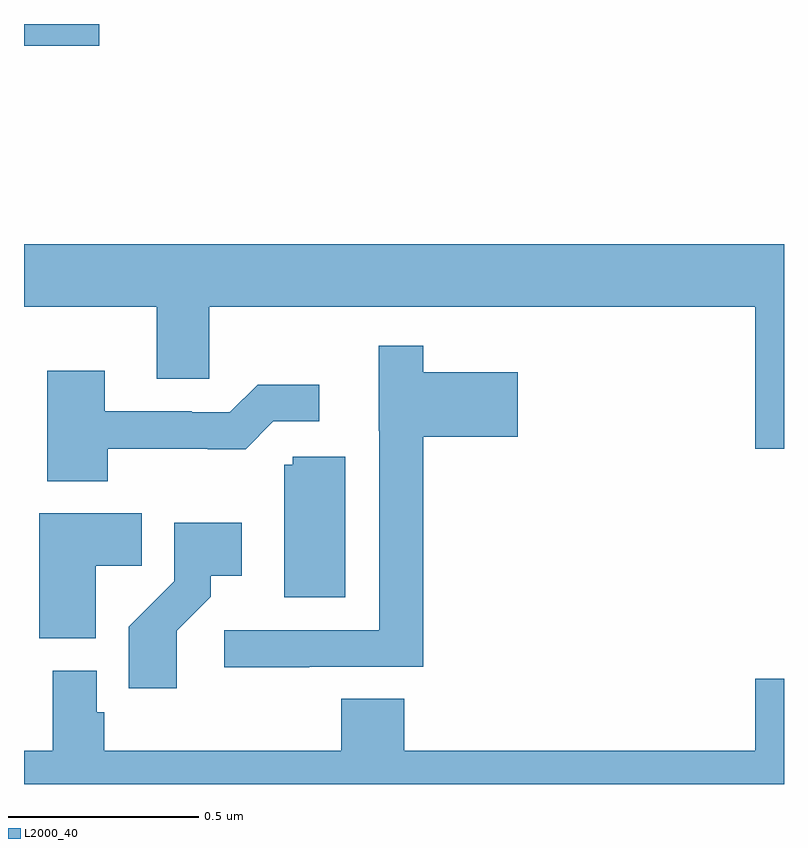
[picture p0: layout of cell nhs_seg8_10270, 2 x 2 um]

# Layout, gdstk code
import gdstk
lib = gdstk.Library(unit=1e-6, precision=1e-09)
def R(c, l, rs):  # rectangles x0, y0, x1, y1
    for r in rs: c.add(gdstk.rectangle(r[:2], r[2:], *l))
def P(c, l, *ps):  # polygons
    for p in ps: c.add(gdstk.Polygon(p, *l))
L2000_40 = (2000, 40)

nhs_seg8_10270 = lib.new_cell('nhs_seg8_10270')
R(nhs_seg8_10270, L2000_40, [(247,1127.843,247.198,1127.9)])
P(nhs_seg8_10270, L2000_40, [(249,1127.32),(247,1127.32),(247,1127.156),(247.349,1127.156),(247.349,1126.966),(247.488,1126.966),(247.488,1127.156),(248.924,1127.156),(248.924,1126.782),(249,1126.782)],
  [(247.751,1126.209),(248.051,1126.209),(248.051,1126.814),(248.299,1126.814),(248.299,1126.984),(248.051,1126.984),(248.051,1127.053),(247.934,1127.053),(247.934,1126.83),(247.935,1126.83),(247.935,1126.305),(247.527,1126.305),(247.527,1126.207),(247.751,1126.207)],
  [(247.221,1126.782),(247.484,1126.782),(247.484,1126.781),(247.583,1126.781),(247.656,1126.854),(247.777,1126.854),(247.777,1126.951),(247.615,1126.951),(247.542,1126.878),(247.442,1126.878),(247.442,1126.881),(247.213,1126.881),(247.213,1126.987),(247.061,1126.987),(247.061,1126.697),(247.221,1126.697)],
  [(247.846,1126.761),(247.707,1126.761),(247.707,1126.74),(247.685,1126.74),(247.685,1126.392),(247.846,1126.392)],
  [(247.189,1126.474),(247.31,1126.474),(247.31,1126.612),(247.04,1126.612),(247.04,1126.283),(247.189,1126.283)],
  [(247.402,1126.303),(247.492,1126.393),(247.492,1126.448),(247.573,1126.448),(247.573,1126.588),(247.395,1126.588),(247.395,1126.433),(247.276,1126.314),(247.276,1126.152),(247.402,1126.152)],
  [(249,1126.177),(248.924,1126.177),(248.924,1125.988),(248,1125.988),(248,1126.124),(247.835,1126.124),(247.835,1125.988),(247.211,1125.988),(247.211,1126.089),(247.191,1126.089),(247.191,1126.198),(247.075,1126.198),(247.075,1125.988),(247,1125.988),(247,1125.9),(249,1125.9)])

lib.write_gds('nhs_seg8_10270.gds')
